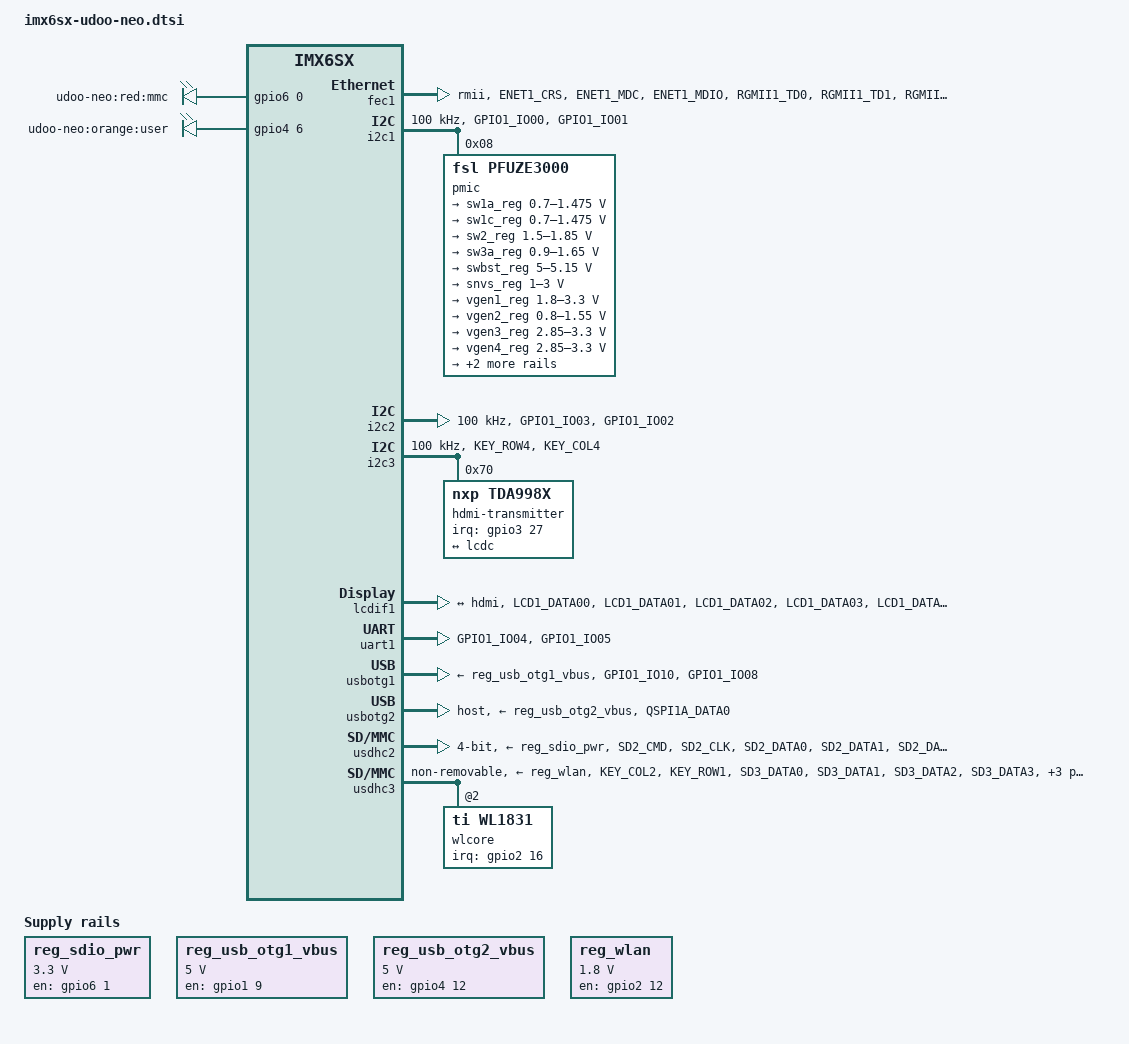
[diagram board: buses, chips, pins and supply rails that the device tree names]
// SPDX-License-Identifier: (GPL-2.0+ OR MIT)
/*
 * Copyright (c) 2016 Andreas Färber
 */

#include "imx6sx.dtsi"

/ {
	compatible = "fsl,imx6sx";

	chosen {
		stdout-path = "serial0:115200n8";
	};

	leds {
		compatible = "gpio-leds";

		red {
			label = "udoo-neo:red:mmc";
			gpios = <&gpio6 0 GPIO_ACTIVE_HIGH>;
			default-state = "off";
			linux,default-trigger = "mmc0";
		};

		orange {
			label = "udoo-neo:orange:user";
			gpios = <&gpio4 6 GPIO_ACTIVE_HIGH>;
			default-state = "keep";
		};
	};

	reg_sdio_pwr: regulator-sdio-pwr {
		compatible = "regulator-fixed";
		gpio = <&gpio6 1 GPIO_ACTIVE_HIGH>;
		enable-active-high;
		regulator-name = "SDIO_PWR";
		regulator-min-microvolt = <3300000>;
		regulator-max-microvolt = <3300000>;
		regulator-boot-on;
	};

	reg_usb_otg1_vbus: regulator-usb-otg1-vbus {
		compatible = "regulator-fixed";
		pinctrl-names = "default";
		pinctrl-0 = <&pinctrl_otg1_reg>;
		regulator-name = "usb_otg1_vbus";
		regulator-min-microvolt = <5000000>;
		regulator-max-microvolt = <5000000>;
		gpio = <&gpio1 9 GPIO_ACTIVE_HIGH>;
		enable-active-high;
	};

	reg_usb_otg2_vbus: regulator-usb-otg2-vbus {
		compatible = "regulator-fixed";
		pinctrl-names = "default";
		pinctrl-0 = <&pinctrl_otg2_reg>;
		regulator-name = "usb_otg2_vbus";
		regulator-min-microvolt = <5000000>;
		regulator-max-microvolt = <5000000>;
		gpio = <&gpio4 12 GPIO_ACTIVE_HIGH>;
		enable-active-high;
	};

	reg_wlan: regulator-wlan {
		compatible = "regulator-fixed";
		regulator-name = "wlan-en-regulator";
		regulator-min-microvolt = <1800000>;
		regulator-max-microvolt = <1800000>;
		gpio = <&gpio2 12 GPIO_ACTIVE_HIGH>;
		startup-delay-us = <70000>;
		enable-active-high;
	};
};

&fec1 {
	pinctrl-names = "default";
	pinctrl-0 = <&pinctrl_enet1>;
	phy-mode = "rmii";
	phy-reset-duration = <10>;
	phy-reset-gpios = <&gpio2 1 GPIO_ACTIVE_LOW>;
};

&i2c1 {
	pinctrl-names = "default";
	pinctrl-0 = <&pinctrl_i2c1>;
	clock-frequency = <100000>;
	status = "okay";

	pmic: pmic@8 {
		compatible = "fsl,pfuze3000";
		reg = <0x08>;

		regulators {
			sw1a_reg: sw1a {
				regulator-min-microvolt = <700000>;
				regulator-max-microvolt = <1475000>;
				regulator-boot-on;
				regulator-always-on;
				regulator-ramp-delay = <6250>;
			};

			sw1c_reg: sw1b {
				regulator-min-microvolt = <700000>;
				regulator-max-microvolt = <1475000>;
				regulator-boot-on;
				regulator-always-on;
				regulator-ramp-delay = <6250>;
			};

			sw2_reg: sw2 {
				regulator-min-microvolt = <1500000>;
				regulator-max-microvolt = <1850000>;
				regulator-boot-on;
				regulator-always-on;
			};

			sw3a_reg: sw3 {
				regulator-min-microvolt = <900000>;
				regulator-max-microvolt = <1650000>;
				regulator-boot-on;
				regulator-always-on;
			};

			swbst_reg: swbst {
				regulator-min-microvolt = <5000000>;
				regulator-max-microvolt = <5150000>;
			};

			snvs_reg: vsnvs {
				regulator-min-microvolt = <1000000>;
				regulator-max-microvolt = <3000000>;
				regulator-boot-on;
				regulator-always-on;
			};

			vref_reg: vrefddr {
				regulator-boot-on;
				regulator-always-on;
			};

			vgen1_reg: vldo1 {
				regulator-min-microvolt = <1800000>;
				regulator-max-microvolt = <3300000>;
				regulator-always-on;
			};

			vgen2_reg: vldo2 {
				regulator-min-microvolt = <800000>;
				regulator-max-microvolt = <1550000>;
			};

			vgen3_reg: vccsd {
				regulator-min-microvolt = <2850000>;
				regulator-max-microvolt = <3300000>;
				regulator-always-on;
			};

			vgen4_reg: v33 {
				regulator-min-microvolt = <2850000>;
				regulator-max-microvolt = <3300000>;
				regulator-always-on;
			};

			vgen5_reg: vldo3 {
				regulator-min-microvolt = <1800000>;
				regulator-max-microvolt = <3300000>;
				regulator-always-on;
			};

			vgen6_reg: vldo4 {
				regulator-min-microvolt = <1800000>;
				regulator-max-microvolt = <3300000>;
				regulator-always-on;
			};
		};
	};
};

&i2c2 { /* Brick snap in sensors connector */
	pinctrl-names = "default";
	pinctrl-0 = <&pinctrl_i2c2>;
	clock-frequency = <100000>;
	status = "okay";
};

&i2c3 {
	pinctrl-names = "default";
	pinctrl-0 = <&pinctrl_i2c3>;
	clock-frequency = <100000>;
	status = "okay";

	hdmi-transmitter@70 {
		compatible = "nxp,tda998x";
		reg = <0x70>;
		interrupts-extended = <&gpio3 27 IRQ_TYPE_LEVEL_LOW>;

		ports {
			port {
				hdmi: endpoint {
					remote-endpoint = <&lcdc>;
				};
			};
		};
	};
};

&i2c4 { /* Onboard Motion sensors */
	pinctrl-names = "default";
	pinctrl-0 = <&pinctrl_i2c4>;
	clock-frequency = <100000>;
	status = "disabled";
};

&lcdif1 {
	pinctrl-names = "default";
	pinctrl-0 = <&pinctrl_lcd>;
	status = "okay";

	port {
		lcdc: endpoint {
			remote-endpoint = <&hdmi>;
		};
	};
};

&iomuxc {
	pinctrl_bt_reg: btreggrp {
		fsl,pins =
			<MX6SX_PAD_KEY_ROW2__GPIO2_IO_17	0x15059>;
	};

	pinctrl_enet1: enet1grp {
		fsl,pins =
			<MX6SX_PAD_ENET1_CRS__GPIO2_IO_1	0xa0b1>,
			<MX6SX_PAD_ENET1_MDC__ENET1_MDC		0xa0b1>,
			<MX6SX_PAD_ENET1_MDIO__ENET1_MDIO	0xa0b1>,
			<MX6SX_PAD_RGMII1_TD0__ENET1_TX_DATA_0	0xa0b1>,
			<MX6SX_PAD_RGMII1_TD1__ENET1_TX_DATA_1	0xa0b1>,
			<MX6SX_PAD_RGMII1_TX_CTL__ENET1_TX_EN	0xa0b1>,

			<MX6SX_PAD_ENET1_TX_CLK__ENET1_REF_CLK1	0x3081>,
			<MX6SX_PAD_ENET2_TX_CLK__GPIO2_IO_9	0x3081>,
			<MX6SX_PAD_RGMII1_RD0__ENET1_RX_DATA_0	0x3081>,
			<MX6SX_PAD_RGMII1_RD1__ENET1_RX_DATA_1	0x3081>,
			<MX6SX_PAD_RGMII1_RX_CTL__ENET1_RX_EN	0x3081>,
			<MX6SX_PAD_RGMII1_RXC__ENET1_RX_ER	0x3081>,

			<MX6SX_PAD_ENET2_RX_CLK__ENET2_REF_CLK_25M	0x91>;
	};

	pinctrl_i2c1: i2c1grp {
		fsl,pins =
			<MX6SX_PAD_GPIO1_IO00__I2C1_SCL		0x4001b8b1>,
			<MX6SX_PAD_GPIO1_IO01__I2C1_SDA		0x4001b8b1>;
	};

	pinctrl_i2c2: i2c2grp {
		fsl,pins =
			<MX6SX_PAD_GPIO1_IO03__I2C2_SDA		0x4001b8b1>,
			<MX6SX_PAD_GPIO1_IO02__I2C2_SCL		0x4001b8b1>;
	};

	pinctrl_i2c3: i2c3grp {
		fsl,pins =
			<MX6SX_PAD_KEY_ROW4__I2C3_SDA			0x4001b8b1>,
			<MX6SX_PAD_KEY_COL4__I2C3_SCL			0x4001b8b1>;
	};

	pinctrl_i2c4: i2c4grp {
		fsl,pins =
			<MX6SX_PAD_USB_H_DATA__I2C4_SDA		0x4001b8b1>,
			<MX6SX_PAD_USB_H_STROBE__I2C4_SCL	0x4001b8b1>;
	};

	pinctrl_lcd: lcdgrp {
		fsl,pins = <
			MX6SX_PAD_LCD1_DATA00__LCDIF1_DATA_0		0x4001b0b0
			MX6SX_PAD_LCD1_DATA01__LCDIF1_DATA_1		0x4001b0b0
			MX6SX_PAD_LCD1_DATA02__LCDIF1_DATA_2		0x4001b0b0
			MX6SX_PAD_LCD1_DATA03__LCDIF1_DATA_3		0x4001b0b0
			MX6SX_PAD_LCD1_DATA04__LCDIF1_DATA_4		0x4001b0b0
			MX6SX_PAD_LCD1_DATA05__LCDIF1_DATA_5		0x4001b0b0
			MX6SX_PAD_LCD1_DATA06__LCDIF1_DATA_6		0x4001b0b0
			MX6SX_PAD_LCD1_DATA07__LCDIF1_DATA_7		0x4001b0b0
			MX6SX_PAD_LCD1_DATA08__LCDIF1_DATA_8		0x4001b0b0
			MX6SX_PAD_LCD1_DATA09__LCDIF1_DATA_9		0x4001b0b0
			MX6SX_PAD_LCD1_DATA10__LCDIF1_DATA_10		0x4001b0b0
			MX6SX_PAD_LCD1_DATA11__LCDIF1_DATA_11		0x4001b0b0
			MX6SX_PAD_LCD1_DATA12__LCDIF1_DATA_12		0x4001b0b0
			MX6SX_PAD_LCD1_DATA13__LCDIF1_DATA_13		0x4001b0b0
			MX6SX_PAD_LCD1_DATA14__LCDIF1_DATA_14		0x4001b0b0
			MX6SX_PAD_LCD1_DATA15__LCDIF1_DATA_15		0x4001b0b0
			MX6SX_PAD_LCD1_DATA16__LCDIF1_DATA_16		0x4001b0b0
			MX6SX_PAD_LCD1_DATA17__LCDIF1_DATA_17		0x4001b0b0
			MX6SX_PAD_LCD1_DATA18__LCDIF1_DATA_18		0x4001b0b0
			MX6SX_PAD_LCD1_DATA19__LCDIF1_DATA_19		0x4001b0b0
			MX6SX_PAD_LCD1_DATA20__LCDIF1_DATA_20		0x4001b0b0
			MX6SX_PAD_LCD1_DATA21__LCDIF1_DATA_21		0x4001b0b0
			MX6SX_PAD_LCD1_DATA22__LCDIF1_DATA_22		0x4001b0b0
			MX6SX_PAD_LCD1_DATA23__LCDIF1_DATA_23		0x4001b0b0
			MX6SX_PAD_LCD1_CLK__LCDIF1_CLK		0x4001b0b0
			MX6SX_PAD_LCD1_ENABLE__LCDIF1_ENABLE		0x4001b0b0
			MX6SX_PAD_LCD1_VSYNC__LCDIF1_VSYNC		0x4001b0b0
			MX6SX_PAD_LCD1_HSYNC__LCDIF1_HSYNC		0x4001b0b0
			MX6SX_PAD_LCD1_RESET__GPIO3_IO_27		0x4001b0b0
		>;
	};

	pinctrl_uart1: uart1grp {
		fsl,pins =
			<MX6SX_PAD_GPIO1_IO04__UART1_DCE_TX	0x1b0b1>,
			<MX6SX_PAD_GPIO1_IO05__UART1_DCE_RX	0x1b0b1>;
	};

	pinctrl_uart2: uart2grp {
		fsl,pins =
			<MX6SX_PAD_GPIO1_IO06__UART2_DCE_TX	0x1b0b1>,
			<MX6SX_PAD_GPIO1_IO07__UART2_DCE_RX	0x1b0b1>;
	};

	pinctrl_uart3: uart3grp {
		fsl,pins =
			<MX6SX_PAD_SD3_DATA4__UART3_DCE_RX	0x13059>,
			<MX6SX_PAD_SD3_DATA5__UART3_DCE_TX	0x13059>,
			<MX6SX_PAD_SD3_DATA6__UART3_DCE_RTS	0x13059>,
			<MX6SX_PAD_SD3_DATA7__UART3_DCE_CTS	0x13059>;
	};

	pinctrl_uart5: uart5grp {
		fsl,pins =
			<MX6SX_PAD_SD4_DATA4__UART5_DCE_RX	0x1b0b1>,
			<MX6SX_PAD_SD4_DATA5__UART5_DCE_TX	0x1b0b1>;
	};

	pinctrl_uart6: uart6grp {
		fsl,pins =
			<MX6SX_PAD_CSI_DATA00__UART6_RI_B	0x1b0b1>,
			<MX6SX_PAD_CSI_DATA01__UART6_DSR_B	0x1b0b1>,
			<MX6SX_PAD_CSI_DATA02__UART6_DTR_B	0x1b0b1>,
			<MX6SX_PAD_CSI_DATA03__UART6_DCD_B	0x1b0b1>,
			<MX6SX_PAD_CSI_DATA04__UART6_DCE_RX	0x1b0b1>,
			<MX6SX_PAD_CSI_DATA05__UART6_DCE_TX	0x1b0b1>,
			<MX6SX_PAD_CSI_DATA06__UART6_DCE_RTS	0x1b0b1>,
			<MX6SX_PAD_CSI_DATA07__UART6_DCE_CTS	0x1b0b1>;
	};

	pinctrl_otg1_reg: otg1grp {
		fsl,pins =
			<MX6SX_PAD_GPIO1_IO09__GPIO1_IO_9	0x10b0>;
	};

	pinctrl_otg2_reg: otg2grp {
		fsl,pins =
			<MX6SX_PAD_NAND_RE_B__GPIO4_IO_12	0x10b0>;
	};

	pinctrl_usb_otg1: usbotg1grp {
		fsl,pins =
			<MX6SX_PAD_GPIO1_IO10__ANATOP_OTG1_ID	0x17059>,
			<MX6SX_PAD_GPIO1_IO08__USB_OTG1_OC	0x10b0>;
	};

	pinctrl_usb_otg2: usbot2ggrp {
		fsl,pins =
			<MX6SX_PAD_QSPI1A_DATA0__USB_OTG2_OC	0x10b0>;
	};

	pinctrl_usdhc2: usdhc2grp {
		fsl,pins =
			<MX6SX_PAD_SD2_CMD__USDHC2_CMD		0x17059>,
			<MX6SX_PAD_SD2_CLK__USDHC2_CLK		0x10059>,
			<MX6SX_PAD_SD2_DATA0__USDHC2_DATA0	0x17059>,
			<MX6SX_PAD_SD2_DATA1__USDHC2_DATA1	0x17059>,
			<MX6SX_PAD_SD2_DATA2__USDHC2_DATA2	0x17059>,
			<MX6SX_PAD_SD2_DATA3__USDHC2_DATA3	0x17059>,
			<MX6SX_PAD_SD1_DATA0__GPIO6_IO_2	0x17059>; /* CD */
	};

	pinctrl_usdhc3: usdhc3grp {
		fsl,pins =
			<MX6SX_PAD_KEY_COL2__GPIO2_IO_12	0x15059>,
			<MX6SX_PAD_KEY_ROW1__GPIO2_IO_16	0x13059>,
			<MX6SX_PAD_SD3_DATA0__USDHC3_DATA0	0x17069>,
			<MX6SX_PAD_SD3_DATA1__USDHC3_DATA1	0x17069>,
			<MX6SX_PAD_SD3_DATA2__USDHC3_DATA2	0x17069>,
			<MX6SX_PAD_SD3_DATA3__USDHC3_DATA3	0x17069>,
			<MX6SX_PAD_SD3_CMD__USDHC3_CMD		0x17069>,
			<MX6SX_PAD_SD3_CLK__USDHC3_CLK		0x10069>,
			<MX6SX_PAD_CSI_MCLK__OSC32K_32K_OUT	0x10059>;
	};
};

&uart1 {
	pinctrl-names = "default";
	pinctrl-0 = <&pinctrl_uart1>;
	status = "okay";
};

/* Cortex-M4 serial */
&uart2 {
	pinctrl-names = "default";
	pinctrl-0 = <&pinctrl_uart2>;
	status = "disabled";
};

&uart3 { /* Bluetooth - only on Extended/Full versions */
	pinctrl-names = "default";
	pinctrl-0 = <&pinctrl_uart3>;
	uart-has-rtscts;
	status = "disabled";

	bluetooth {
		compatible = "ti,wl1831-st";
		enable-gpios = <&gpio2 17 GPIO_ACTIVE_HIGH>;
		pinctrl-names = "default";
		pinctrl-0 = <&pinctrl_bt_reg>;
		max-speed = <921600>;
	};
};

/* Arduino serial */
&uart5 {
	pinctrl-names = "default";
	pinctrl-0 = <&pinctrl_uart5>;
	status = "disabled";
};

&uart6 {
	pinctrl-names = "default";
	pinctrl-0 = <&pinctrl_uart6>;
	uart-has-rtscts;
	status = "disabled";
};

&usbotg1 { /* J2 micro USB port */
	vbus-supply = <&reg_usb_otg1_vbus>;
	pinctrl-names = "default";
	pinctrl-0 = <&pinctrl_usb_otg1>;
	status = "okay";
};

&usbotg2 { /* J3 host USB port */
	vbus-supply = <&reg_usb_otg2_vbus>;
	pinctrl-names = "default";
	pinctrl-0 = <&pinctrl_usb_otg2>;
	dr_mode = "host";
	status = "okay";
};

&usdhc2 {
	pinctrl-names = "default";
	pinctrl-0 = <&pinctrl_usdhc2>;
	vmmc-supply = <&reg_sdio_pwr>;
	bus-width = <4>;
	cd-gpios = <&gpio6 2 GPIO_ACTIVE_LOW>;
	no-1-8-v;
	keep-power-in-suspend;
	wakeup-source;
	status = "okay";
};

&usdhc3 { /* Wi-Fi */
	pinctrl-names = "default";
	pinctrl-0 = <&pinctrl_usdhc3>;
	non-removable;
	vmmc-supply = <&reg_wlan>;
	cap-power-off-card;
	wakeup-source;
	keep-power-in-suspend;
	#address-cells = <1>;
	#size-cells = <0>;
	status = "okay";

	wlcore: wlcore@2 {
		compatible = "ti,wl1831";
		reg = <2>;
		interrupt-parent = <&gpio2>;
		interrupts = <16 IRQ_TYPE_EDGE_RISING>;
		ref-clock-frequency = <38400000>;
		tcxo-clock-frequency = <26000000>;
	};
};
